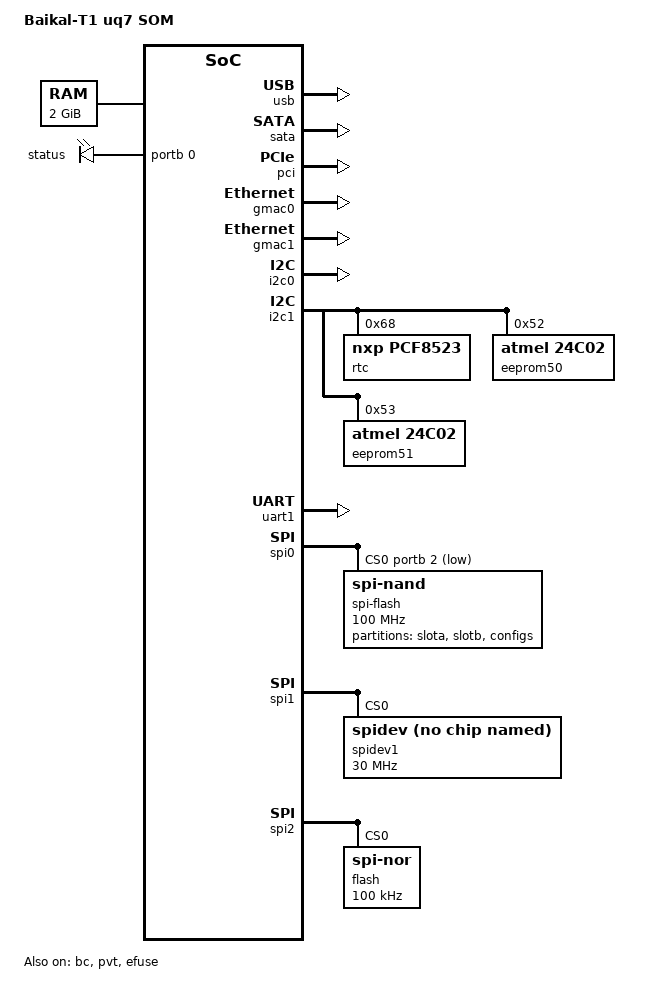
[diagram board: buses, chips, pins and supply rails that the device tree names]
/*
 * Baikal-T1 uq7 SOM
 */

/dts-v1/;

#include <dt-bindings/interrupt-controller/mips-gic.h>
#include <dt-bindings/gpio/gpio.h>

#include  "baikal_t1_soc.dtsi"

/ {
	model = "Baikal-T1 uq7 SOM";
	compatible = "baikal,mips", "baikal,baikal-t1-soc", "inmys,baikal-t1-uq7";
	#address-cells = <1>;
	#size-cells = <2>;

	chosen {
		bootargs = "root=/dev/ram rw rootwait console=ttyS0,115200n8 earlyprintk=uart8250,mmio32,0x1F04A000,115200 maxcpus=2 nohtw";
		linux,initrd-start = <0x01000000>;
		linux,initrd-end   = <0x02000000>;
	};

	memory {
		device_type = "memory";
		reg = <0x00000000 0 0x08000000>,
		      <0x20000000 0 0x78000000>;
		/*2048 MBytes memory on SOM*/
	};
	leds {
		compatible = "gpio-leds";
		status {
			label = "status";
			gpios = <&portb 0 GPIO_ACTIVE_HIGH>;
			linux,default-trigger = "heartbeat";
		};
	};
};

&usb {
	status = "okay";
};

&sata {
	status = "okay";
};

&pci {
	status = "okay";
};

&gmac0 {
	status = "okay";
};

&gmac1 {
	status = "okay";
};

&xgmac {
	status = "disabled";
};

&gpio {
	status = "okay";
};

&gpio3 {
	status = "okay";
};

&i2c0 {
	status = "okay";
};

&i2c1 {
	rtc@68 {
		compatible = "nxp,pcf8523";
		reg = <0x68>;
	};
	eeprom50: eeprom@50 {
		compatible = "atmel,24c02";
		reg = <0x52>;
	};
	eeprom51: eeprom@51 {
		compatible = "atmel,24c02";
		reg = <0x53>;
	};
};

&uart1 {
	status = "okay";
};

&bc {
	status = "okay";
};

&spi0 {
	num-cs = <1>;
	cs-gpios = <&portb 2 GPIO_ACTIVE_LOW>;

	status = "okay";

	spi-flash@0 { /*512MB spi-nand flash */
		#address-cells = <1>;
		#size-cells = <1>;
		compatible = "spi-nand";
		/*spi-max-frequency = <104000000>;*/
		spi-max-frequency = <100000000>;
		spi-tx-bus-width = <1>;
		spi-rx-bus-width = <1>;
		reg = <0>;
		partition@00000000 {
			label = "slota";
			reg = <0x00000000 0xe000000>; /*224 MB*/
		};
		partition@0e000000 {
			label = "slotb";
			reg = <0x0e000000 0xe000000>; /*224 MB*/
		};
		partition@1c000000 {
			label = "configs";
			reg = <0x1c000000 0>; /*extend to the end (64MB for 512MB nand)*/
		};
	};
};

&spi1 {
	status = "okay";
	num-cs = <1>;
	/*cs-gpios = <&portb 2 GPIO_ACTIVE_LOW>;*/

	spidev1@0 {
		/* for spidev_test */
		compatible = "rohm,dh2228fv";
		reg = <0>;
#if 1
		spi-max-frequency = <30000000>;
#endif
	};
};

&spi2 {
	num-cs = <1>;
	status = "okay";

	flash@0 {
		#address-cells = <1>;
		#size-cells = <1>;
		status = "okay";
		compatible = "jedec,spi-nor";
		reg = <0>;
		spi-max-frequency = <100000>;

		/* total size 16MB */
		part@0 {
			label = "bootloader";
			reg = <0x0 0xc0000>;
		};
		part@c0000 {
			label = "environment";
			reg = <0xc0000 0x10000>;
		};
		part@d0000 {
			label = "information";
			reg = <0xd0000 0x10000>;
		};
		part@e0000 {
			label = "fdt";
			reg = <0xe0000 0x10000>;
		};
		part@f0000 {
			label = "fitimage";
			reg = <0xf0000 0xf10000>;
		};
	};
};

&pvt {
	status = "okay";
};

&efuse {
	status = "okay";
};

